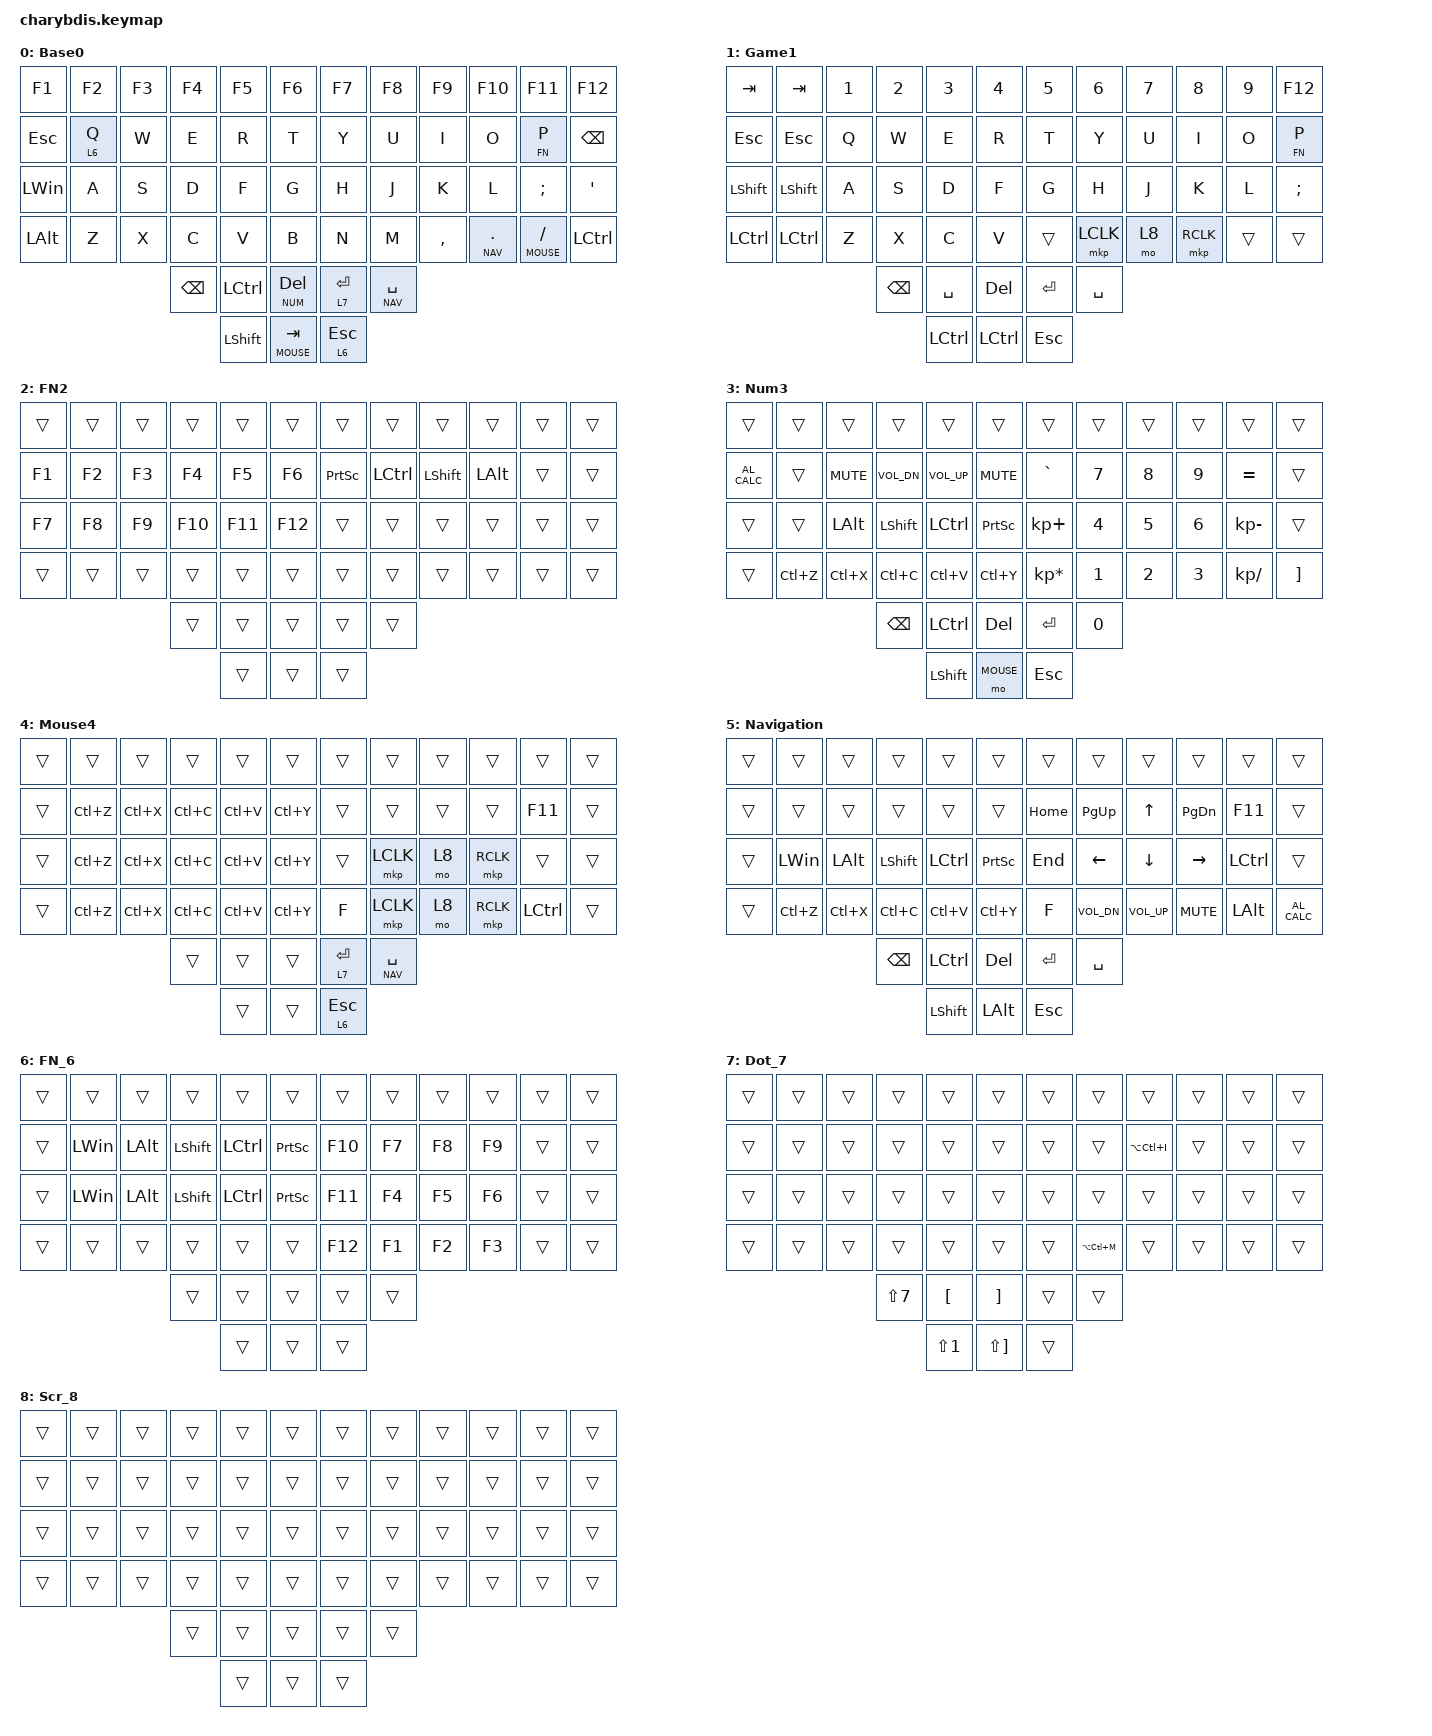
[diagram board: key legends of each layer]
#include <behaviors.dtsi>
#include <dt-bindings/zmk/keys.h>
#include <dt-bindings/zmk/bt.h>
#include <dt-bindings/zmk/ext_power.h>
#include <dt-bindings/zmk/mouse.h>
#include <dt-bindings/zmk/outputs.h>
#define GAME  1
#define FN    2
#define NUM   3
#define MOUSE 4
#define NAV   5

/ {
    combos {
        compatible = "zmk,combos";

        qote {
            bindings = <&kp GRAVE>;
            key-positions = <16 17>;
        };
        greatt {
            bindings = <&kp LC(LA(P))>;
            key-positions = <18 19>;
        };
        ParaLeft {
            bindings = <&kp LS(N9)>;
            key-positions = <40 41>;
            layers = <0>;
        };
        ParaRight {
            bindings = <&kp LS(N0)>;
            key-positions = <42 43>;
        };
        eng {
            bindings = <&kp F16>;
            key-positions = <28 29>;
            layers = <0>;
        };
        rus {
            bindings = <&kp F17>;
            key-positions = <30 31>;
        };

        bootloaderLeft {
            bindings = <&bootloader>;
            key-positions = <0 13>;
        };
        bootloaderRight {
            bindings = <&bootloader>;
            key-positions = <11 22>;
        };
        resetLeft {
            bindings = <&sys_reset>;
            key-positions = <0 12>;
        };
        resetRight {
            bindings = <&sys_reset>;
            key-positions = <11 23>;
        };
        // micelay {
        //     bindings = <&tog 4>;
        //     key-positions = <46 47>;
        // };
        // ScrollToggle {
        //     bindings = <&tog 4>;
        //     key-positions = <45 46>;
        // };
        // NumTog {
        //     bindings = <&tog 3>;
        //     key-positions = <21 22>;
        // };
        gomouse {
            bindings = <&tog 4>;
            key-positions = <51 55>;
        };
        game {
            bindings = <&tog 1>;
            key-positions = <34 47>;
        };
        game1 {
            bindings = <&tog 1>;
            key-positions = <36 25>;
        };
        GoNav {
            bindings = <&tog 5>;
            key-positions = <7 8 9>;
        };
        goscroll {
            bindings = <&tog 8>;
            key-positions = <52 55>;
        };
    };

    trackball_listener {
        compatible = "zmk,input-behavior-listener";
        device = <&vtrackball>;
        layers = <0 1 2 3 4 5 6 7>;
        evt-type = <INPUT_EV_REL>;
        x-input-code = <INPUT_REL_X>;
        y-input-code = <INPUT_REL_Y>;
        scale-multiplier = <1>;
        scale-divisor = <1>;
    }; 
        trackball_scroll_listener {
        compatible = "zmk,input-behavior-listener";
        device = <&vtrackball>;
        layers = <8>;
        evt-type = <INPUT_EV_REL>;      
        //x-input-code = <INPUT_REL_HWHEEL>;
        x-input-code = <INPUT_REL_MISC>;
        y-input-code = <INPUT_REL_WHEEL>;
        y-invert;
        bindings = <&ib_wheel_scaler 1 16>;
    };
        trackball2_scroll_listener {
        compatible = "zmk,input-behavior-listener";
        device = <&vtrackball>;
        layers = <>;
        evt-type = <INPUT_EV_REL>;      
        x-input-code = <INPUT_REL_HWHEEL>;
        //x-input-code = <INPUT_REL_MISC>;
        y-input-code = <INPUT_REL_MISC>;
        scale-divisor = <4>;
        bindings = <&ib_wheel_scaler 1 16>;
    };


    ib_wheel_scaler: ib_wheel_scaler {
        compatible = "zmk,input-behavior-scaler";
        #binding-cells = <2>;
        evt-type = <INPUT_EV_REL>;
        input-code = <INPUT_REL_WHEEL>;
    };
 
    ib_toggle_layer: ib_toggle_layer {
        compatible = "zmk,input-behavior-tog-layer";
        #binding-cells = <1>;
        time-to-live-ms = <500>;
    };

    behaviors {
        lt: layer_tap {
            compatible = "zmk,behavior-hold-tap";
            #binding-cells = <2>;
            flavor = "balanced";
            tapping-term-ms = <240>;
            quick-tap-ms = <150>;
            bindings = 
                <&mo>,
                <&kp>;
        };
    };

    keymap {
        compatible = "zmk,keymap";

        Base_0 {
            label = "Base0";
            bindings = <
            // ╭─────────────┬─────────────┬─────────────┬─────────────┬─────────────┬─────────────╮Bse╭─────────────┬─────────────┬─────────────┬─────────────┬─────────────┬─────────────╮
                    &kp F1        &kp F2        &kp F3        &kp F4        &kp F5        &kp F6            &kp F7        &kp F8        &kp F9       &kp F10       &kp F11       &kp F12
            // ├─────────────┼─────────────┼─────────────┼─────────────┼─────────────┼─────────────┤ 0 ├─────────────┼─────────────┼─────────────┼─────────────┼─────────────┼─────────────┤
                   &kp ESC       &lt 6 Q        &kp W         &kp E         &kp R         &kp T             &kp Y         &kp U         &kp I         &kp O        &lt FN P      &kp BSPC
            // ├─────────────┼─────────────┼─────────────┼─────────────┼─────────────┼─────────────┤   ├─────────────┼─────────────┼─────────────┼─────────────┼─────────────┼─────────────┤
                   &kp LWIN       &kp A         &kp S         &kp D         &kp F         &kp G             &kp H         &kp J         &kp K         &kp L        &kp SEMI      &kp APOS
            // ├─────────────┼─────────────┼─────────────┼─────────────┼─────────────┼─────────────┤   ├─────────────┼─────────────┼─────────────┼─────────────┼─────────────┼─────────────┤
                   &kp LALT       &kp Z         &kp X         &kp C         &kp V         &kp B             &kp N         &kp M       &kp COMMA    &lt NAV DOT  &lt MOUSE FSLH   &kp LCTRL  
            // ╰─────────────┴─────────────┴─────────────┼─────────────┼─────────────┼─────────────┤   ├─────────────┼─────────────┼─────────────┴─────────────┴─────────────┴─────────────╯
                                                             &kp BSPC     &kp LCTRL    &lt NUM DEL        &lt 7 RET   &lt NAV SPACE
            //                                           ╰─────────────┼─────────────┼─────────────┤ 0 ├─────────────┼─────────────╯
                                                                          &kp LSHFT   &lt MOUSE TAB       &lt 6 ESC
            //                                                         ╰─────────────┴─────────────╯Bse╰─────────────╯
            >;
        };

        Game_1 {
            label = "Game1";
            bindings = <
            // ╭─────────────┬─────────────┬─────────────┬─────────────┬─────────────┬─────────────╮Gam╭─────────────┬─────────────┬─────────────┬─────────────┬─────────────┬─────────────╮
                   &kp TAB       &kp TAB        &kp N1        &kp N2        &kp N3        &kp N4            &kp N5        &kp N6        &kp N7        &kp N8        &kp N9       &kp F12
            // ├─────────────┼─────────────┼─────────────┼─────────────┼─────────────┼─────────────┤ 1 ├─────────────┼─────────────┼─────────────┼─────────────┼─────────────┼─────────────┤
                   &kp ESC       &kp ESC        &kp Q         &kp W         &kp E         &kp R             &kp T         &kp Y         &kp U         &kp I         &kp O        &lt FN P
            // ├─────────────┼─────────────┼─────────────┼─────────────┼─────────────┼─────────────┤Gam├─────────────┼─────────────┼─────────────┼─────────────┼─────────────┼─────────────┤
                  &kp LSHFT     &kp LSHFT       &kp A         &kp S         &kp D         &kp F             &kp G         &kp H         &kp J         &kp K         &kp L        &kp SEMI
            // ├─────────────┼─────────────┼─────────────┼─────────────┼─────────────┼─────────────┤ 1 ├─────────────┼─────────────┼─────────────┼─────────────┼─────────────┼─────────────┤
                  &kp LCTRL     &kp LCTRL       &kp Z         &kp X         &kp C         &kp V             &trans      &mkp LCLK       &mo 8       &mkp RCLK       &trans        &trans
            // ╰─────────────┴─────────────┴─────────────┼─────────────┼─────────────┼─────────────┤Gam├─────────────┼─────────────┼─────────────┴─────────────┴─────────────┴─────────────╯
                                                             &kp BSPC     &kp SPACE      &kp DEL           &kp RET      &kp SPACE
            //                                           ╰─────────────┼─────────────┼─────────────┤ 1 ├─────────────┼─────────────╯
                                                                          &kp LCTRL     &kp LCTRL          &kp ESC        
            //                                                         ╰─────────────┴─────────────╯Gam╰─────────────╯
            >;
        };

        FN_2 {
            label = "FN2";
            bindings = <
            // ╭─────────────┬─────────────┬─────────────┬─────────────┬─────────────┬─────────────╮FFN╭─────────────┬─────────────┬─────────────┬─────────────┬─────────────┬─────────────╮
                    &trans        &trans        &trans        &trans        &trans        &trans            &trans        &trans        &trans        &trans        &trans        &trans
            // ├─────────────┼─────────────┼─────────────┼─────────────┼─────────────┼─────────────┤ 2 ├─────────────┼─────────────┼─────────────┼─────────────┼─────────────┼─────────────┤
                    &kp F1        &kp F2        &kp F3        &kp F4        &kp F5        &kp F6          &kp PSCRN     &kp LCTRL     &kp LSHFT      &kp LALT       &trans        &trans
            // ├─────────────┼─────────────┼─────────────┼─────────────┼─────────────┼─────────────┤   ├─────────────┼─────────────┼─────────────┼─────────────┼─────────────┼─────────────┤
                    &kp F7        &kp F8        &kp F9       &kp F10       &kp F11       &kp F12            &trans        &trans        &trans        &trans        &trans        &trans
            // ├─────────────┼─────────────┼─────────────┼─────────────┼─────────────┼─────────────┤ 2 ├─────────────┼─────────────┼─────────────┼─────────────┼─────────────┼─────────────┤
                    &trans        &trans        &trans        &trans        &trans        &trans            &trans        &trans        &trans        &trans        &trans        &trans
            // ╰─────────────┴─────────────┴─────────────┼─────────────┼─────────────┼─────────────┤   ├─────────────┼─────────────┼─────────────┴─────────────┴─────────────┴─────────────╯
                                                              &trans        &trans        &trans            &trans        &trans    
            //                                           ╰─────────────┼─────────────┼─────────────┤ 2 ├─────────────┼─────────────╯
                                                                            &trans        &trans            &trans
            //                                                         ╰─────────────┴─────────────╯FFN╰─────────────╯
            >;
        };

        Num_3 {
            label = "Num3";
            bindings = <
            // ╭─────────────┬─────────────┬─────────────┬─────────────┬─────────────┬─────────────╮Num╭─────────────┬─────────────┬─────────────┬─────────────┬─────────────┬─────────────╮
                    &trans        &trans        &trans        &trans        &trans        &trans            &trans        &trans        &trans        &trans        &trans        &trans
            // ├─────────────┼─────────────┼─────────────┼─────────────┼─────────────┼─────────────┤ 3 ├─────────────┼─────────────┼─────────────┼─────────────┼─────────────┼─────────────┤
                &kp C_AL_CALC     &trans      &kp C_MUTE   &kp C_VOL_DN  &kp C_VOL_UP   &kp C_MUTE        &kp GRAVE       &kp N7        &kp N8        &kp N9      &kp EQUAL       &trans
            // ├─────────────┼─────────────┼─────────────┼─────────────┼─────────────┼─────────────┤Num├─────────────┼─────────────┼─────────────┼─────────────┼─────────────┼─────────────┤
                    &trans        &trans       &kp LALT     &kp LSHFT     &kp LCTRL     &kp PSCRN        &kp KP_PLUS      &kp N4        &kp N5        &kp N6    &kp KP_MINUS      &trans
            // ├─────────────┼─────────────┼─────────────┼─────────────┼─────────────┼─────────────┤ 3 ├─────────────┼─────────────┼─────────────┼─────────────┼─────────────┼─────────────┤
                    &trans      &kp LC(Z)     &kp LC(X)     &kp LC(C)     &kp LC(V)     &kp LC(Y)      &kp KP_MULTIPLY    &kp N1        &kp N2        &kp N3    &kp KP_SLASH     &kp RBKT
            // ╰─────────────┴─────────────┴─────────────┼─────────────┼─────────────┼─────────────┤Num├─────────────┼─────────────┼─────────────┴─────────────┴─────────────┴─────────────╯
                                                             &kp BSPC     &kp LCTRL      &kp DEL           &kp RET       &kp N0
            //                                           ╰─────────────┼─────────────┼─────────────┤ 3 ├─────────────┼─────────────╯
                                                                          &kp LSHFT     &mo MOUSE          &kp ESC
            //                                                         ╰─────────────┴─────────────╯Num╰─────────────╯
            >;
        };

        Mouse_4 {
            label = "Mouse4";
            bindings = <
            // ╭─────────────┬─────────────┬─────────────┬─────────────┬─────────────┬─────────────╮Mse╭─────────────┬─────────────┬─────────────┬─────────────┬─────────────┬─────────────╮
                    &trans        &trans        &trans        &trans        &trans        &trans            &trans        &trans        &trans        &trans        &trans        &trans
            // ├─────────────┼─────────────┼─────────────┼─────────────┼─────────────┼─────────────┤ 4 ├─────────────┼─────────────┼─────────────┼─────────────┼─────────────┼─────────────┤
                    &trans      &kp LC(Z)     &kp LC(X)     &kp LC(C)     &kp LC(V)     &kp LC(Y)           &trans        &trans        &trans        &trans       &kp F11        &trans
            // ├─────────────┼─────────────┼─────────────┼─────────────┼─────────────┼─────────────┤Mse├─────────────┼─────────────┼─────────────┼─────────────┼─────────────┼─────────────┤
                    &trans      &kp LC(Z)     &kp LC(X)     &kp LC(C)     &kp LC(V)     &kp LC(Y)           &trans      &mkp LCLK       &mo 8       &mkp RCLK       &trans        &trans
            // ├─────────────┼─────────────┼─────────────┼─────────────┼─────────────┼─────────────┤ 4 ├─────────────┼─────────────┼─────────────┼─────────────┼─────────────┼─────────────┤
                    &trans      &kp LC(Z)     &kp LC(X)     &kp LC(C)     &kp LC(V)     &kp LC(Y)           &kp F       &mkp LCLK       &mo 8       &mkp RCLK     &kp LCTRL       &trans
            // ╰─────────────┴─────────────┴─────────────┼─────────────┼─────────────┼─────────────┤Mse├─────────────┼─────────────┼─────────────┴─────────────┴─────────────┴─────────────╯
                                                              &trans        &trans        &trans          &lt 7 RET   &lt NAV SPACE
            //                                           ╰─────────────┼─────────────┼─────────────┤ 4 ├─────────────┼─────────────╯
                                                                            &trans        &trans          &lt 6 ESC   
            //                                                         ╰─────────────┴─────────────╯Mse╰─────────────╯
            >;
        };

        Navigation_5 {
            label = "Navigation";
            bindings = <
            // ╭─────────────┬─────────────┬─────────────┬─────────────┬─────────────┬─────────────╮Nav╭─────────────┬─────────────┬─────────────┬─────────────┬─────────────┬─────────────╮
                    &trans        &trans        &trans        &trans        &trans        &trans            &trans        &trans        &trans        &trans        &trans        &trans
            // ├─────────────┼─────────────┼─────────────┼─────────────┼─────────────┼─────────────┤ 5 ├─────────────┼─────────────┼─────────────┼─────────────┼─────────────┼─────────────┤
                    &trans        &trans        &trans        &trans        &trans        &trans           &kp HOME      &kp PG_UP      &kp UP      &kp PG_DN      &kp F11        &trans
            // ├─────────────┼─────────────┼─────────────┼─────────────┼─────────────┼─────────────┤Nav├─────────────┼─────────────┼─────────────┼─────────────┼─────────────┼─────────────┤
                    &trans       &kp LWIN     &kp LALT      &kp LSHFT     &kp LCTRL     &kp PSCRN          &kp END       &kp LEFT      &kp DOWN     &kp RIGHT     &kp LCTRL       &trans
            // ├─────────────┼─────────────┼─────────────┼─────────────┼─────────────┼─────────────┤ 5 ├─────────────┼─────────────┼─────────────┼─────────────┼─────────────┼─────────────┤
                    &trans      &kp LC(Z)     &kp LC(X)     &kp LC(C)     &kp LC(V)     &kp LC(Y)           &kp F     &kp C_VOL_DN  &kp C_VOL_UP   &kp C_MUTE      &kp LALT   &kp C_AL_CALC
            // ╰─────────────┴─────────────┴─────────────┼─────────────┼─────────────┼─────────────┤Nav├─────────────┼─────────────┼─────────────┴─────────────┴─────────────┴─────────────╯
                                                             &kp BSPC     &kp LCTRL      &kp DEL           &kp RET      &kp SPACE 
            //                                           ╰─────────────┼─────────────┼─────────────┤ 5 ├─────────────┼─────────────╯
                                                                          &kp LSHFT      &kp LALT          &kp ESC   
            //                                                         ╰─────────────┴─────────────╯Nav╰─────────────╯
            >;
        };

        FN_6 {
            label = "FN_6";
            bindings = <
            // ╭─────────────┬─────────────┬─────────────┬─────────────┬─────────────┬─────────────╮Fx ╭─────────────┬─────────────┬─────────────┬─────────────┬─────────────┬─────────────╮
                    &trans        &trans        &trans        &trans        &trans        &trans            &trans        &trans        &trans        &trans        &trans        &trans
            // ├─────────────┼─────────────┼─────────────┼─────────────┼─────────────┼─────────────┤ 6 ├─────────────┼─────────────┼─────────────┼─────────────┼─────────────┼─────────────┤
                    &trans       &kp LWIN     &kp LALT      &kp LSHFT     &kp LCTRL     &kp PSCRN          &kp F10        &kp F7        &kp F8        &kp F9        &trans        &trans
            // ├─────────────┼─────────────┼─────────────┼─────────────┼─────────────┼─────────────┤Fx ├─────────────┼─────────────┼─────────────┼─────────────┼─────────────┼─────────────┤
                    &trans       &kp LWIN     &kp LALT      &kp LSHFT     &kp LCTRL     &kp PSCRN          &kp F11        &kp F4        &kp F5        &kp F6        &trans        &trans
            // ├─────────────┼─────────────┼─────────────┼─────────────┼─────────────┼─────────────┤ 6 ├─────────────┼─────────────┼─────────────┼─────────────┼─────────────┼─────────────┤
                    &trans        &trans        &trans        &trans        &trans        &trans           &kp F12        &kp F1        &kp F2        &kp F3        &trans        &trans
            // ╰─────────────┴─────────────┴─────────────┼─────────────┼─────────────┼─────────────┤Fx ├─────────────┼─────────────┼─────────────┴─────────────┴─────────────┴─────────────╯
                                                              &trans        &trans        &trans            &trans        &trans
            //                                           ╰─────────────┼─────────────┼─────────────┤ 6 ├─────────────┼─────────────╯
                                                                            &trans        &trans            &trans
            //                                                         ╰─────────────┴─────────────╯Fx ╰─────────────╯
            >;
        };

        Dot_7 {
            label = "Dot_7";
            bindings = <
            // ╭─────────────┬─────────────┬─────────────┬─────────────┬─────────────┬─────────────╮Dot╭─────────────┬─────────────┬─────────────┬─────────────┬─────────────┬─────────────╮
                    &trans        &trans        &trans        &trans        &trans        &trans            &trans        &trans        &trans        &trans        &trans        &trans
            // ├─────────────┼─────────────┼─────────────┼─────────────┼─────────────┼─────────────┤ 7 ├─────────────┼─────────────┼─────────────┼─────────────┼─────────────┼─────────────┤
                    &trans        &trans        &trans        &trans        &trans        &trans            &trans        &trans    &kp LA(LC(I))     &trans        &trans        &trans
            // ├─────────────┼─────────────┼─────────────┼─────────────┼─────────────┼─────────────┤ 7 ├─────────────┼─────────────┼─────────────┼─────────────┼─────────────┼─────────────┤
                    &trans        &trans        &trans        &trans        &trans        &trans            &trans        &trans        &trans        &trans        &trans        &trans
            // ├─────────────┼─────────────┼─────────────┼─────────────┼─────────────┼─────────────┤ 7 ├─────────────┼─────────────┼─────────────┼─────────────┼─────────────┼─────────────┤
                    &trans        &trans        &trans        &trans        &trans        &trans            &trans    &kp LA(LC(M))     &trans        &trans        &trans        &trans
            // ╰─────────────┴─────────────┴─────────────┼─────────────┼─────────────┼─────────────┤ 7 ├─────────────┼─────────────┼─────────────┴─────────────┴─────────────┴─────────────╯
                                                            &kp LS(N7)     &kp LBKT      &kp RBKT           &trans        &trans
            //                                           ╰─────────────┼─────────────┼─────────────┤ 7 ├─────────────┼─────────────╯
                                                                          &kp LS(N1)   &kp LS(RBKT)         &trans
            //                                                         ╰─────────────┴─────────────╯Dot╰─────────────╯
            >;
        };

        Scr_8 {
            label = "Scr_8";
            bindings = <
            // ╭─────────────┬─────────────┬─────────────┬─────────────┬─────────────┬─────────────╮Scr╭─────────────┬─────────────┬─────────────┬─────────────┬─────────────┬─────────────╮
                    &trans        &trans        &trans        &trans        &trans        &trans            &trans        &trans        &trans        &trans        &trans        &trans
            // ├─────────────┼─────────────┼─────────────┼─────────────┼─────────────┼─────────────┤ 8 ├─────────────┼─────────────┼─────────────┼─────────────┼─────────────┼─────────────┤
                    &trans        &trans        &trans        &trans        &trans        &trans            &trans        &trans        &trans        &trans        &trans        &trans
            // ├─────────────┼─────────────┼─────────────┼─────────────┼─────────────┼─────────────┤Scr├─────────────┼─────────────┼─────────────┼─────────────┼─────────────┼─────────────┤
                    &trans        &trans        &trans        &trans        &trans        &trans            &trans        &trans        &trans        &trans        &trans        &trans
            // ├─────────────┼─────────────┼─────────────┼─────────────┼─────────────┼─────────────┤ 8 ├─────────────┼─────────────┼─────────────┼─────────────┼─────────────┼─────────────┤
                    &trans        &trans        &trans        &trans        &trans        &trans            &trans        &trans        &trans        &trans        &trans        &trans
            // ╰─────────────┴─────────────┴─────────────┼─────────────┼─────────────┼─────────────┤Scr├─────────────┼─────────────┼─────────────┴─────────────┴─────────────┴─────────────╯
                                                              &trans        &trans        &trans            &trans        &trans
            //                                           ╰─────────────┼─────────────┼─────────────┤ 8 ├─────────────┼─────────────╯
                                                                            &trans        &trans            &trans
            //                                                         ╰─────────────┴─────────────╯Scr╰─────────────╯
            >;
        };
    };
};
